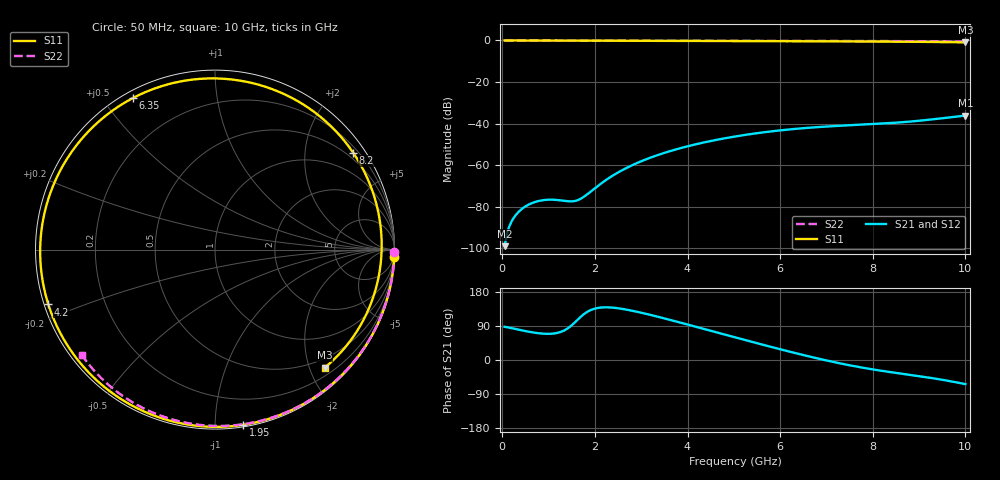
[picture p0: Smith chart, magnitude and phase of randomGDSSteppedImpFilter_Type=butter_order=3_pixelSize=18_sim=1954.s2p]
! freq	dB(S11)	phase(S11)	dB(S12)	phase(S12)
!  dB(S21)	phase(S21)	dB(S22)	phase(S22)
!S-par simulation data
#  GHz  S  DB  R 50
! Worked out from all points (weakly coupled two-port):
!   200 points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, 50 MHz to 10 GHz, reference 50 ohm
!   highest |S21| = -36.17 dB at 10 GHz (marker M1); lowest = -99.0 dB at 50 MHz (marker M2)
!   lowest |S11| = -0.9 dB at 10 GHz (marker M3), VSWR 18.57, Z = 16.6 - j113 ohm
!   |S11| at or under -10 dB: nowhere
!   |S22| runs from -0.5 to 0.0 dB; largest |S21 - S12| = 0
!   S11 on the Smith chart (normalised r, x): 50 MHz: 1, -52; 1.95 GHz: 0.01, -1.17; 4.2 GHz: 0.01, -0.16; 6.35 GHz: 0.03, +0.60; 8.2 GHz: 0.34, +3.14; 10 GHz: 0.33, -2.26
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0.05  -0.00 -2.2  -99.05 87.7  -99.05 87.7  -0.00 -0.8
0.5  -0.02 -21.6  -79.91 76.3  -79.91 76.3  -0.01 -8.2
0.8  -0.04 -34.4  -77.22 70.4  -77.22 70.4  -0.02 -13.0
1.5  -0.08 -63.3  -77.48 91.7  -77.48 91.7  -0.03 -24.3
1.75  -0.09 -73.2  -75.44 119.8  -75.44 119.8  -0.04 -28.2
1.95  -0.10 -81.0  -72.04 133.8  -72.04 133.8  -0.04 -31.4
2.6  -0.12 -105.4  -62.33 134.7  -62.33 134.7  -0.05 -41.5
3.4  -0.16 -134.0  -54.85 112.9  -54.85 112.9  -0.07 -53.6
4.2  -0.20 -161.8  -49.88 87.1  -49.88 87.1  -0.09 -65.4
5.05  -0.25 168.3  -46.15 59.0  -46.15 59.0  -0.12 -77.5
5.7  -0.30 144.2  -44.07 37.9  -44.07 37.9  -0.14 -86.4
6.35  -0.35 118.4  -42.53 17.6  -42.53 17.6  -0.17 -95.2
6.7  -0.38 103.7  -41.90 7.2  -41.90 7.2  -0.19 -99.8
7.1  -0.42 86.1  -41.31 -3.9  -41.31 -3.9  -0.22 -105.0
7.45  -0.45 70.3  -40.89 -12.7  -40.89 -12.7  -0.24 -109.4
7.8  -0.49 53.9  -40.50 -20.7  -40.50 -20.7  -0.27 -113.9
8.2  -0.54 35.0  -40.03 -28.7  -40.03 -28.7  -0.30 -118.9
8.35  -0.55 27.9  -39.83 -31.4  -39.83 -31.4  -0.31 -120.8
8.75  -0.61 9.0  -39.17 -38.3  -39.17 -38.3  -0.35 -125.8
9.15  -0.68 -9.5  -38.32 -45.4  -38.32 -45.4  -0.38 -130.8
9.55  -0.78 -27.5  -37.33 -53.3  -37.33 -53.3  -0.43 -135.8
10  -0.94 -47.1  -36.17 -63.7  -36.17 -63.7  -0.48 -141.5
